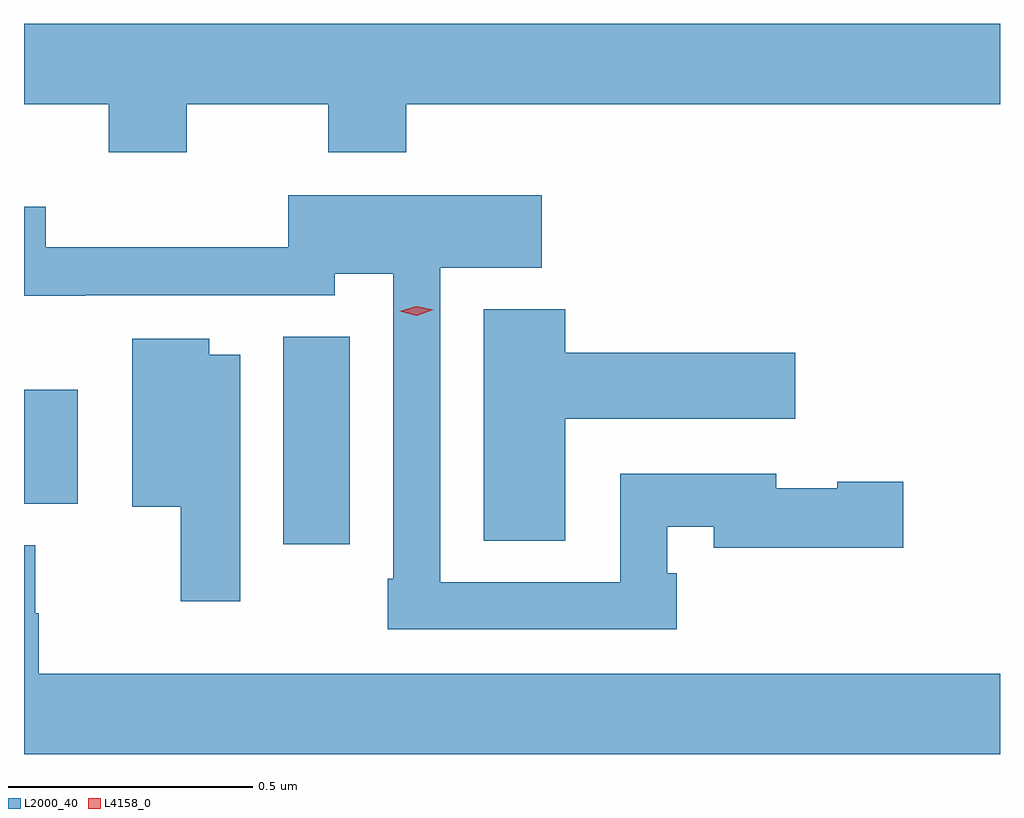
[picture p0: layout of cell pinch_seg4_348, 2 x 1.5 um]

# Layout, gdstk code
import gdstk
lib = gdstk.Library(unit=1e-6, precision=1e-09)
def R(c, l, rs):  # rectangles x0, y0, x1, y1
    for r in rs: c.add(gdstk.rectangle(r[:2], r[2:], *l))
def P(c, l, *ps):  # polygons
    for p in ps: c.add(gdstk.Polygon(p, *l))
L2000_40 = (2000, 40)
L4158_0 = (4158, 0)

pinch_seg4_348 = lib.new_cell('pinch_seg4_348')
R(pinch_seg4_348, L2000_40, [(959,810.57,959.137,810.995), (958.469,810.653,958.579,810.886)])
P(pinch_seg4_348, L2000_40, [(958.803,811.472),(959.092,811.472),(959.092,811.373),(959.252,811.373),(959.252,811.472),(960.469,811.472),(960.469,811.636),(958.469,811.636),(958.469,811.472),(958.643,811.472),(958.643,811.373),(958.803,811.373)],
  [(959.807,810.51),(959.787,810.51),(959.787,810.606),(959.882,810.606),(959.882,810.563),(960.271,810.563),(960.271,810.698),(960.136,810.698),(960.136,810.685),(960.01,810.685),(960.01,810.714),(959.691,810.714),(959.691,810.492),(959.322,810.492),(959.322,811.136),(959.53,811.136),(959.53,811.285),(959.01,811.285),(959.01,811.178),(958.514,811.178),(958.514,811.261),(958.469,811.261),(958.469,811.079),(958.595,811.079),(958.595,811.08),(959.106,811.08),(959.106,811.124),(959.226,811.124),(959.226,810.499),(959.214,810.499),(959.214,810.396),(959.807,810.396)],
  [(959.578,810.827),(960.049,810.827),(960.049,810.962),(959.578,810.962),(959.578,811.051),(959.411,811.051),(959.411,810.577),(959.578,810.577)],
  [(958.912,810.958),(958.849,810.958),(958.849,810.991),(958.691,810.991),(958.691,810.647),(958.79,810.647),(958.79,810.453),(958.912,810.453)],
  [(960.469,810.304),(958.499,810.304),(958.499,810.428),(958.492,810.428),(958.492,810.568),(958.469,810.568),(958.469,810.14),(960.469,810.14)])
P(pinch_seg4_348, L4158_0, [(959.274,811.038),(959.239,811.047),(959.238,811.047),(959.239,811.047),(959.273,811.058),(959.308,811.05),(959.308,811.05),(959.308,811.05)])

lib.write_gds('pinch_seg4_348.gds')
